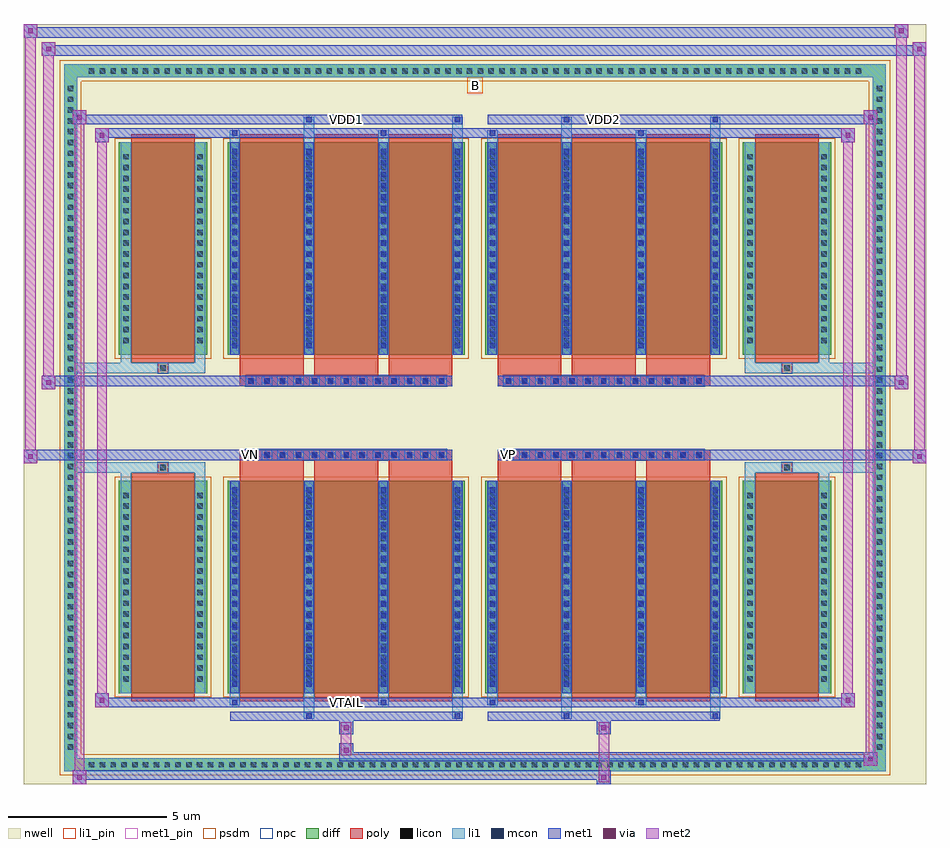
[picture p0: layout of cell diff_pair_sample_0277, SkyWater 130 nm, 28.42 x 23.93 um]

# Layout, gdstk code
import gdstk
lib = gdstk.Library(unit=1e-6, precision=5e-09)
def R(c, l, rs):  # rectangles x0, y0, x1, y1
    for r in rs: c.add(gdstk.rectangle(r[:2], r[2:], *l))
def A(c, l, x, y, w, h, nx, ny, dx, dy):  # array of equal rectangles
    R(c, l, [(x+i*dx, y+j*dy, x+i*dx+w, y+j*dy+h) for i in range(nx) for j in range(ny)])
def P(c, l, *ps):  # polygons
    for p in ps: c.add(gdstk.Polygon(p, *l))
nwell = (64, 20)
diff = (65, 20)
poly = (66, 20)
licon = (66, 44)
li1_pin = (67, 16)
li1 = (67, 20)
mcon = (67, 44)
met1_pin = (68, 16)
met1 = (68, 20)
via = (68, 44)
met2 = (69, 20)
psdm = (94, 20)
npc = (95, 20)

diff_pair_sample_0277 = lib.new_cell('diff_pair_sample_0277')
R(diff_pair_sample_0277, nwell, [(-14.21,-11.53,14.21,12.4), (-11.53,-9.72,-0.01,-0.8), (0.01,-9.72,11.53,-0.8), (-11.53,0.8,-0.01,9.72), (0.01,0.8,11.53,9.72)])
A(diff_pair_sample_0277, diff, -12.275, -11.13, 0.41, 0.41, 72, 2, 0.34, 21.85)
A(diff_pair_sample_0277, diff, -12.94, -10.575, 0.41, 0.41, 1, 62, 0, 0.34)
A(diff_pair_sample_0277, diff, 12.53, -10.575, 0.41, 0.41, 1, 62, 0, 0.34)
R(diff_pair_sample_0277, diff, [(-12.275,-11.13,12.275,-10.72), (-12.94,-10.575,-12.53,10.575), (12.53,-10.575,12.94,10.575), (-11.22,-8.675,-8.43,-1.985), (-7.79,-8.675,-0.32,-1.985), (0.32,-8.675,7.79,-1.985), (8.43,-8.675,11.22,-1.985), (-11.22,1.985,-8.43,8.675), (-7.79,1.985,-0.32,8.675), (0.32,1.985,7.79,8.675), (8.43,1.985,11.22,8.675), (-12.275,10.72,12.275,11.13)])
P(diff_pair_sample_0277, diff, [(12.94,11.13),(-12.94,11.13),(-12.94,-10.72),(-12.53,-10.72),(-12.53,10.72),(12.53,10.72),(12.53,-10.72),(-12.53,-10.72),(-12.94,-10.72),(-12.94,-11.13),(12.94,-11.13)])
A(diff_pair_sample_0277, poly, -7.4, -8.925, 2.01, 7.19, 3, 2, 2.34, 10.66)
A(diff_pair_sample_0277, poly, 0.71, -8.925, 2.01, 7.19, 3, 2, 2.34, 10.66)
A(diff_pair_sample_0277, poly, -7.4, -1.735, 2.01, 0.405, 3, 2, 2.34, 3.065)
A(diff_pair_sample_0277, poly, 0.71, -1.735, 2.01, 0.405, 3, 2, 2.34, 3.065)
A(diff_pair_sample_0277, poly, -7.22, -1.33, 0.33, 0.33, 13, 2, 0.5, 2.33)
A(diff_pair_sample_0277, poly, 0.89, -1.33, 0.33, 0.33, 13, 2, 0.5, 2.33)
R(diff_pair_sample_0277, poly, [(-10.83,-8.925,-8.82,-1.735), (8.82,-8.925,10.83,-1.735), (-9.99,-1.735,-9.66,-1.405), (-9.99,-1.735,-9.66,-1.405), (9.66,-1.735,9.99,-1.405), (9.66,-1.735,9.99,-1.405), (-7.4,-1.33,-0.71,-1), (0.71,-1.33,7.4,-1), (-7.4,1,-0.71,1.33), (0.71,1,7.4,1.33), (-9.99,1.405,-9.66,1.735), (-9.99,1.405,-9.66,1.735), (9.66,1.405,9.99,1.735), (9.66,1.405,9.99,1.735), (-10.83,1.735,-8.82,8.925), (8.82,1.735,10.83,8.925)])
A(diff_pair_sample_0277, licon, -12.155, -11.01, 0.17, 0.17, 72, 2, 0.34, 21.85)
A(diff_pair_sample_0277, licon, -12.82, -10.455, 0.17, 0.17, 1, 62, 0, 0.34)
A(diff_pair_sample_0277, licon, 12.65, -10.455, 0.17, 0.17, 1, 62, 0, 0.34)
A(diff_pair_sample_0277, licon, -11.08, -8.305, 0.17, 0.17, 1, 18, 0, 0.34)
A(diff_pair_sample_0277, licon, -8.74, -8.305, 0.17, 0.17, 1, 18, 0, 0.34)
A(diff_pair_sample_0277, licon, -7.65, -8.305, 0.17, 0.17, 4, 18, 2.34, 0.34)
A(diff_pair_sample_0277, licon, 0.46, -8.305, 0.17, 0.17, 4, 18, 2.34, 0.34)
A(diff_pair_sample_0277, licon, 8.57, -8.305, 0.17, 0.17, 1, 18, 0, 0.34)
A(diff_pair_sample_0277, licon, 10.91, -8.305, 0.17, 0.17, 1, 18, 0, 0.34)
A(diff_pair_sample_0277, licon, -7.14, -1.25, 0.17, 0.17, 13, 2, 0.5, 2.33)
A(diff_pair_sample_0277, licon, 0.97, -1.25, 0.17, 0.17, 13, 2, 0.5, 2.33)
A(diff_pair_sample_0277, licon, -11.08, 2.355, 0.17, 0.17, 1, 18, 0, 0.34)
A(diff_pair_sample_0277, licon, -8.74, 2.355, 0.17, 0.17, 1, 18, 0, 0.34)
A(diff_pair_sample_0277, licon, -7.65, 2.355, 0.17, 0.17, 4, 18, 2.34, 0.34)
A(diff_pair_sample_0277, licon, 0.46, 2.355, 0.17, 0.17, 4, 18, 2.34, 0.34)
A(diff_pair_sample_0277, licon, 8.57, 2.355, 0.17, 0.17, 1, 18, 0, 0.34)
A(diff_pair_sample_0277, licon, 10.91, 2.355, 0.17, 0.17, 1, 18, 0, 0.34)
R(diff_pair_sample_0277, licon, [(-9.91,-1.655,-9.74,-1.485), (9.74,-1.655,9.91,-1.485), (-9.91,1.485,-9.74,1.655), (9.74,1.485,9.91,1.655)])
R(diff_pair_sample_0277, li1_pin, [(-0.25,10.22,0.25,10.72)])
A(diff_pair_sample_0277, li1, -12.235, -11.09, 0.33, 0.33, 72, 2, 0.34, 21.85)
A(diff_pair_sample_0277, li1, -12.9, -10.535, 0.33, 0.33, 1, 62, 0, 0.34)
A(diff_pair_sample_0277, li1, 12.57, -10.535, 0.33, 0.33, 1, 62, 0, 0.34)
A(diff_pair_sample_0277, li1, -7.73, -8.675, 0.33, 6.69, 4, 2, 2.34, 10.66)
A(diff_pair_sample_0277, li1, 0.38, -8.675, 0.33, 6.69, 4, 2, 2.34, 10.66)
A(diff_pair_sample_0277, li1, -7.65, -8.475, 0.17, 0.17, 4, 18, 2.34, 0.36)
A(diff_pair_sample_0277, li1, -7.65, -8.475, 0.17, 6.29, 4, 2, 2.34, 10.66)
A(diff_pair_sample_0277, li1, 0.46, -8.475, 0.17, 0.17, 4, 18, 2.34, 0.36)
A(diff_pair_sample_0277, li1, 0.46, -8.475, 0.17, 6.29, 4, 2, 2.34, 10.66)
A(diff_pair_sample_0277, li1, -11.16, -8.385, 0.33, 0.33, 1, 18, 0, 0.34)
A(diff_pair_sample_0277, li1, -8.82, -8.385, 0.33, 0.33, 1, 18, 0, 0.34)
A(diff_pair_sample_0277, li1, -7.73, -8.385, 0.33, 0.33, 4, 18, 2.34, 0.34)
A(diff_pair_sample_0277, li1, 0.38, -8.385, 0.33, 0.33, 4, 18, 2.34, 0.34)
A(diff_pair_sample_0277, li1, 8.49, -8.385, 0.33, 0.33, 1, 18, 0, 0.34)
A(diff_pair_sample_0277, li1, 10.83, -8.385, 0.33, 0.33, 1, 18, 0, 0.34)
A(diff_pair_sample_0277, li1, -7.22, -1.33, 0.33, 0.33, 13, 2, 0.5, 2.33)
A(diff_pair_sample_0277, li1, 0.89, -1.33, 0.33, 0.33, 13, 2, 0.5, 2.33)
A(diff_pair_sample_0277, li1, -7.65, 2.185, 0.17, 0.17, 4, 18, 2.34, 0.36)
A(diff_pair_sample_0277, li1, 0.46, 2.185, 0.17, 0.17, 4, 18, 2.34, 0.36)
A(diff_pair_sample_0277, li1, -11.16, 2.275, 0.33, 0.33, 1, 18, 0, 0.34)
A(diff_pair_sample_0277, li1, -8.82, 2.275, 0.33, 0.33, 1, 18, 0, 0.34)
A(diff_pair_sample_0277, li1, -7.73, 2.275, 0.33, 0.33, 4, 18, 2.34, 0.34)
A(diff_pair_sample_0277, li1, 0.38, 2.275, 0.33, 0.33, 4, 18, 2.34, 0.34)
A(diff_pair_sample_0277, li1, 8.49, 2.275, 0.33, 0.33, 1, 18, 0, 0.34)
A(diff_pair_sample_0277, li1, 10.83, 2.275, 0.33, 0.33, 1, 18, 0, 0.34)
R(diff_pair_sample_0277, li1, [(-12.94,-11.13,-12.53,-10.72), (-12.94,-11.13,-12.53,-10.72), (-12.53,-11.13,12.53,-10.72), (12.53,-11.13,12.94,-10.72), (12.53,-11.13,12.94,-10.72), (-12.94,-10.72,-12.53,10.72), (12.53,-10.72,12.94,10.72), (-5.39,-9.48,-5.06,-8.675), (-5.31,-9.48,-5.14,-9.31), (-0.71,-9.48,-0.38,-8.675), (-0.63,-9.48,-0.46,-9.31), (2.72,-9.48,3.05,-8.675), (2.8,-9.48,2.97,-9.31), (7.4,-9.48,7.73,-8.675), (7.48,-9.48,7.65,-9.31), (-7.73,-9.05,-7.4,-8.675), (-7.65,-9.05,-7.48,-8.88), (-3.05,-9.05,-2.72,-8.675), (-2.97,-9.05,-2.8,-8.88), (0.38,-9.05,0.71,-8.675), (0.46,-9.05,0.63,-8.88), (5.06,-9.05,5.39,-8.675), (5.14,-9.05,5.31,-8.88), (-11.16,-8.675,-10.83,-1.985), (-8.82,-8.675,-8.49,-1.985), (8.49,-8.675,8.82,-1.985), (10.83,-8.675,11.16,-1.985), (-11.16,-1.985,-10.83,-1.405), (-8.82,-1.985,-8.49,-1.405), (8.49,-1.985,8.82,-1.405), (10.83,-1.985,11.16,-1.405), (-12.94,-1.735,-9.99,-1.405), (-11.16,-1.735,-9.99,-1.405), (-9.99,-1.735,-9.66,-1.405), (-9.66,-1.735,-8.49,-1.405), (8.49,-1.735,9.66,-1.405), (9.66,-1.735,9.99,-1.405), (9.66,-1.735,12.94,-1.405), (9.99,-1.735,11.16,-1.405), (-12.94,1.405,-9.99,1.735), (-11.16,1.405,-9.99,1.735), (-11.16,1.405,-10.83,1.985), (-9.99,1.405,-9.66,1.735), (-9.66,1.405,-8.49,1.735), (-8.82,1.405,-8.49,1.985), (8.49,1.405,9.66,1.735), (8.49,1.405,8.82,1.985), (9.66,1.405,9.99,1.735), (9.66,1.405,12.94,1.735), (9.99,1.405,11.16,1.735), (10.83,1.405,11.16,1.985), (-11.16,1.985,-10.83,8.675), (-8.82,1.985,-8.49,8.675), (8.49,1.985,8.82,8.675), (10.83,1.985,11.16,8.675), (-7.73,8.675,-7.4,9.05), (-5.39,8.675,-5.06,9.48), (-3.05,8.675,-2.72,9.05), (-0.71,8.675,-0.38,9.48), (0.38,8.675,0.71,9.05), (2.72,8.675,3.05,9.48), (5.06,8.675,5.39,9.05), (7.4,8.675,7.73,9.48), (-7.65,8.88,-7.48,9.05), (-2.97,8.88,-2.8,9.05), (0.46,8.88,0.63,9.05), (5.14,8.88,5.31,9.05), (-5.31,9.31,-5.14,9.48), (-0.63,9.31,-0.46,9.48), (2.8,9.31,2.97,9.48), (7.48,9.31,7.65,9.48), (-12.94,10.72,-12.53,11.13), (-12.94,10.72,-12.53,11.13), (-12.53,10.72,12.53,11.13), (12.53,10.72,12.94,11.13), (12.53,10.72,12.94,11.13)])
A(diff_pair_sample_0277, mcon, -7.65, -8.475, 0.17, 0.17, 4, 18, 2.34, 0.36)
A(diff_pair_sample_0277, mcon, 0.46, -8.475, 0.17, 0.17, 4, 18, 2.34, 0.36)
A(diff_pair_sample_0277, mcon, -7.14, -1.25, 0.17, 0.17, 13, 2, 0.5, 2.33)
A(diff_pair_sample_0277, mcon, 0.97, -1.25, 0.17, 0.17, 13, 2, 0.5, 2.33)
A(diff_pair_sample_0277, mcon, -7.65, 2.185, 0.17, 0.17, 4, 18, 2.34, 0.36)
A(diff_pair_sample_0277, mcon, 0.46, 2.185, 0.17, 0.17, 4, 18, 2.34, 0.36)
R(diff_pair_sample_0277, mcon, [(-5.31,-9.48,-5.14,-9.31), (-0.63,-9.48,-0.46,-9.31), (2.8,-9.48,2.97,-9.31), (7.48,-9.48,7.65,-9.31), (-7.65,-9.05,-7.48,-8.88), (-2.97,-9.05,-2.8,-8.88), (0.46,-9.05,0.63,-8.88), (5.14,-9.05,5.31,-8.88), (-7.65,8.88,-7.48,9.05), (-2.97,8.88,-2.8,9.05), (0.46,8.88,0.63,9.05), (5.14,8.88,5.31,9.05), (-5.31,9.31,-5.14,9.48), (-0.63,9.31,-0.46,9.48), (2.8,9.31,2.97,9.48), (7.48,9.31,7.65,9.48)])
R(diff_pair_sample_0277, met1_pin, [(-4.19,-9.09,-3.92,-8.82), (-7.19,-1.29,-6.92,-1.02), (0.92,-1.29,1.19,-1.02), (-4.19,9.27,-3.92,9.54), (3.92,9.27,4.19,9.54)])
A(diff_pair_sample_0277, met1, -7.71, -8.675, 0.29, 6.69, 4, 2, 2.34, 10.66)
A(diff_pair_sample_0277, met1, 0.4, -8.675, 0.29, 6.69, 4, 2, 2.34, 10.66)
A(diff_pair_sample_0277, met1, -7.71, -8.535, 0.29, 0.29, 4, 18, 2.34, 0.36)
A(diff_pair_sample_0277, met1, 0.4, -8.535, 0.29, 0.29, 4, 18, 2.34, 0.36)
A(diff_pair_sample_0277, met1, -7.2, -1.31, 0.29, 0.29, 13, 2, 0.5, 2.33)
A(diff_pair_sample_0277, met1, 0.91, -1.31, 0.29, 0.29, 13, 2, 0.5, 2.33)
A(diff_pair_sample_0277, met1, -7.71, 2.125, 0.29, 0.29, 4, 18, 2.34, 0.36)
A(diff_pair_sample_0277, met1, 0.4, 2.125, 0.29, 0.29, 4, 18, 2.34, 0.36)
R(diff_pair_sample_0277, met1, [(-12.67,-11.53,-12.24,-11.1), (3.84,-11.53,4.27,-11.1), (-12.67,-11.39,4.27,-11.1), (12.24,-10.96,12.67,-10.53), (-4.27,-10.82,12.67,-10.53), (-4.27,-10.68,-3.84,-10.25), (-4.27,-9.97,-3.84,-9.54), (3.84,-9.97,4.27,-9.54), (-7.71,-9.54,-0.4,-9.25), (-5.37,-9.54,-5.08,-9.25), (-0.69,-9.54,-0.4,-9.25), (0.4,-9.54,7.71,-9.25), (2.74,-9.54,3.03,-9.25), (7.42,-9.54,7.71,-9.25), (-11.96,-9.11,-11.53,-8.68), (-11.96,-9.11,-7.71,-8.82), (-7.71,-9.11,-7.42,-8.82), (-7.71,-9.11,-0.4,-8.82), (-3.03,-9.11,-2.74,-8.82), (-0.4,-9.11,0.4,-8.82), (0.4,-9.11,0.69,-8.82), (0.4,-9.11,7.71,-8.82), (5.08,-9.11,5.37,-8.82), (7.71,-9.11,11.96,-8.82), (11.53,-9.11,11.96,-8.68), (-14.21,-1.43,-13.78,-1), (13.78,-1.43,14.21,-1), (-14.21,-1.33,-0.71,-1), (-7.4,-1.33,-0.71,-1), (0.71,-1.33,7.4,-1), (0.71,-1.33,14.21,-1), (-13.64,0.9,-13.21,1.33), (13.21,0.9,13.64,1.33), (-13.64,1,-7.4,1.33), (-7.4,1,-0.71,1.33), (0.71,1,7.4,1.33), (7.4,1,13.64,1.33), (-11.96,8.68,-11.53,9.11), (11.53,8.68,11.96,9.11), (-11.96,8.82,-7.71,9.11), (-7.71,8.82,-7.42,9.11), (-7.71,8.82,-0.4,9.11), (-3.03,8.82,-2.74,9.11), (-0.4,8.82,0.4,9.11), (0.4,8.82,0.69,9.11), (0.4,8.82,7.71,9.11), (5.08,8.82,5.37,9.11), (7.71,8.82,11.96,9.11), (-12.67,9.25,-12.24,9.68), (-12.67,9.25,-7.71,9.54), (-7.71,9.25,-0.4,9.54), (-5.37,9.25,-5.08,9.54), (-0.69,9.25,-0.4,9.54), (0.4,9.25,7.71,9.54), (2.74,9.25,3.03,9.54), (7.42,9.25,7.71,9.54), (7.71,9.25,12.67,9.54), (12.24,9.25,12.67,9.68), (-13.64,11.4,-13.21,11.83), (-13.64,11.4,-11.53,11.73), (-11.53,11.4,11.53,11.73), (11.53,11.4,14.21,11.73), (13.78,11.4,14.21,11.83), (-14.21,11.97,-13.78,12.4), (-14.21,11.97,-11.53,12.3), (-11.53,11.97,11.53,12.3), (11.53,11.97,13.64,12.3), (13.21,11.97,13.64,12.4)])
R(diff_pair_sample_0277, via, [(-12.53,-11.39,-12.38,-11.24), (3.98,-11.39,4.13,-11.24), (12.38,-10.82,12.53,-10.67), (-4.13,-10.54,-3.98,-10.39), (-4.13,-9.83,-3.98,-9.68), (3.98,-9.83,4.13,-9.68), (-11.82,-8.97,-11.67,-8.82), (11.67,-8.97,11.82,-8.82), (-14.07,-1.29,-13.92,-1.14), (13.92,-1.29,14.07,-1.14), (-13.5,1.04,-13.35,1.19), (13.35,1.04,13.5,1.19), (-11.82,8.82,-11.67,8.97), (11.67,8.82,11.82,8.97), (-12.53,9.39,-12.38,9.54), (12.38,9.39,12.53,9.54), (-13.5,11.54,-13.35,11.69), (13.92,11.54,14.07,11.69), (-14.07,12.11,-13.92,12.26), (13.35,12.11,13.5,12.26)])
R(diff_pair_sample_0277, met2, [(-12.67,-11.53,-12.24,-11.1), (-12.6,-11.53,-12.31,9.68), (-12.31,-11.53,-12.24,-11.1), (-12.62,-11.48,-12.29,-11.15), (3.89,-11.48,4.22,-11.15), (3.89,-11.15,4.22,-9.92), (12.24,-10.96,12.67,-10.53), (12.31,-10.96,12.6,9.68), (12.6,-10.96,12.67,-10.53), (12.29,-10.91,12.62,-10.58), (-4.22,-10.63,-3.89,-10.3), (-4.22,-10.3,-3.89,-9.92), (-4.22,-9.92,-3.89,-9.59), (3.89,-9.92,4.22,-9.59), (-11.96,-9.11,-11.53,-8.68), (-11.89,-9.11,-11.6,9.11), (-11.6,-9.11,-11.53,-8.68), (11.53,-9.11,11.96,-8.68), (11.6,-9.11,11.89,9.11), (11.89,-9.11,11.96,-8.68), (-11.91,-9.06,-11.58,-8.73), (11.58,-9.06,11.91,-8.73), (-14.21,-1.43,-13.78,-1), (-14.16,-1.43,-13.83,12.4), (-13.83,-1.43,-13.78,-1), (13.78,-1.43,14.21,-1), (13.83,-1.43,14.16,11.83), (14.16,-1.43,14.21,-1), (-14.16,-1.38,-13.83,-1.05), (13.83,-1.38,14.16,-1.05), (-13.64,0.9,-13.21,1.33), (-13.59,0.9,-13.26,11.83), (-13.26,0.9,-13.21,1.33), (13.21,0.9,13.64,1.33), (13.26,0.9,13.59,12.4), (13.59,0.9,13.64,1.33), (-13.59,0.95,-13.26,1.28), (13.26,0.95,13.59,1.28), (-11.96,8.68,-11.53,9.11), (-11.6,8.68,-11.53,9.11), (11.53,8.68,11.96,9.11), (11.89,8.68,11.96,9.11), (-11.91,8.73,-11.58,9.06), (11.58,8.73,11.91,9.06), (-12.67,9.25,-12.24,9.68), (-12.31,9.25,-12.24,9.68), (12.24,9.25,12.67,9.68), (12.6,9.25,12.67,9.68), (-12.62,9.3,-12.29,9.63), (12.29,9.3,12.62,9.63), (-13.64,11.4,-13.21,11.83), (-13.26,11.4,-13.21,11.83), (13.78,11.4,14.21,11.83), (14.16,11.4,14.21,11.83), (-13.59,11.45,-13.26,11.78), (13.83,11.45,14.16,11.78), (-14.21,11.97,-13.78,12.4), (-13.83,11.97,-13.78,12.4), (13.21,11.97,13.64,12.4), (13.59,11.97,13.64,12.4), (-14.16,12.02,-13.83,12.35), (13.26,12.02,13.59,12.35)])
R(diff_pair_sample_0277, psdm, [(-11.35,-8.805,-8.3,-1.855), (-7.92,-8.805,-0.19,-1.855), (0.19,-8.805,7.92,-1.855), (8.3,-8.805,11.35,-1.855), (-11.35,1.855,-8.3,8.805), (-7.92,1.855,-0.19,8.805), (0.19,1.855,7.92,8.805), (8.3,1.855,11.35,8.805)])
P(diff_pair_sample_0277, psdm, [(13.07,11.26),(-13.07,11.26),(-13.07,-10.59),(-12.4,-10.59),(-12.4,10.59),(12.4,10.59),(12.4,-10.59),(-12.4,-10.59),(-13.07,-10.59),(-13.07,-11.26),(13.07,-11.26)])
A(diff_pair_sample_0277, npc, -7.24, -1.35, 0.37, 0.37, 13, 2, 0.5, 2.33)
A(diff_pair_sample_0277, npc, 0.87, -1.35, 0.37, 0.37, 13, 2, 0.5, 2.33)
R(diff_pair_sample_0277, npc, [(-10.01,-1.755,-9.64,-1.385), (9.64,-1.755,10.01,-1.385), (-7.24,-1.35,-6.37,-0.98), (-7.24,-1.35,-6.37,-0.98), (-6.74,-1.35,-5.87,-0.98), (-6.74,-1.35,-5.87,-0.98), (-6.24,-1.35,-5.37,-0.98), (-6.24,-1.35,-5.37,-0.98), (-5.74,-1.35,-4.87,-0.98), (-5.74,-1.35,-4.87,-0.98), (-5.24,-1.35,-4.37,-0.98), (-5.24,-1.35,-4.37,-0.98), (-4.74,-1.35,-3.87,-0.98), (-4.74,-1.35,-3.87,-0.98), (-4.24,-1.35,-3.37,-0.98), (-4.24,-1.35,-3.37,-0.98), (-3.74,-1.35,-2.87,-0.98), (-3.74,-1.35,-2.87,-0.98), (-3.24,-1.35,-2.37,-0.98), (-3.24,-1.35,-2.37,-0.98), (-2.74,-1.35,-1.87,-0.98), (-2.74,-1.35,-1.87,-0.98), (-2.24,-1.35,-1.37,-0.98), (-2.24,-1.35,-1.37,-0.98), (-1.74,-1.35,-0.87,-0.98), (-1.74,-1.35,-0.87,-0.98), (0.87,-1.35,1.74,-0.98), (0.87,-1.35,1.74,-0.98), (1.37,-1.35,2.24,-0.98), (1.37,-1.35,2.24,-0.98), (1.87,-1.35,2.74,-0.98), (1.87,-1.35,2.74,-0.98), (2.37,-1.35,3.24,-0.98), (2.37,-1.35,3.24,-0.98), (2.87,-1.35,3.74,-0.98), (2.87,-1.35,3.74,-0.98), (3.37,-1.35,4.24,-0.98), (3.37,-1.35,4.24,-0.98), (3.87,-1.35,4.74,-0.98), (3.87,-1.35,4.74,-0.98), (4.37,-1.35,5.24,-0.98), (4.37,-1.35,5.24,-0.98), (4.87,-1.35,5.74,-0.98), (4.87,-1.35,5.74,-0.98), (5.37,-1.35,6.24,-0.98), (5.37,-1.35,6.24,-0.98), (5.87,-1.35,6.74,-0.98), (5.87,-1.35,6.74,-0.98), (6.37,-1.35,7.24,-0.98), (6.37,-1.35,7.24,-0.98), (-7.24,0.98,-6.37,1.35), (-7.24,0.98,-6.37,1.35), (-6.74,0.98,-5.87,1.35), (-6.74,0.98,-5.87,1.35), (-6.24,0.98,-5.37,1.35), (-6.24,0.98,-5.37,1.35), (-5.74,0.98,-4.87,1.35), (-5.74,0.98,-4.87,1.35), (-5.24,0.98,-4.37,1.35), (-5.24,0.98,-4.37,1.35), (-4.74,0.98,-3.87,1.35), (-4.74,0.98,-3.87,1.35), (-4.24,0.98,-3.37,1.35), (-4.24,0.98,-3.37,1.35), (-3.74,0.98,-2.87,1.35), (-3.74,0.98,-2.87,1.35), (-3.24,0.98,-2.37,1.35), (-3.24,0.98,-2.37,1.35), (-2.74,0.98,-1.87,1.35), (-2.74,0.98,-1.87,1.35), (-2.24,0.98,-1.37,1.35), (-2.24,0.98,-1.37,1.35), (-1.74,0.98,-0.87,1.35), (-1.74,0.98,-0.87,1.35), (0.87,0.98,1.74,1.35), (0.87,0.98,1.74,1.35), (1.37,0.98,2.24,1.35), (1.37,0.98,2.24,1.35), (1.87,0.98,2.74,1.35), (1.87,0.98,2.74,1.35), (2.37,0.98,3.24,1.35), (2.37,0.98,3.24,1.35), (2.87,0.98,3.74,1.35), (2.87,0.98,3.74,1.35), (3.37,0.98,4.24,1.35), (3.37,0.98,4.24,1.35), (3.87,0.98,4.74,1.35), (3.87,0.98,4.74,1.35), (4.37,0.98,5.24,1.35), (4.37,0.98,5.24,1.35), (4.87,0.98,5.74,1.35), (4.87,0.98,5.74,1.35), (5.37,0.98,6.24,1.35), (5.37,0.98,6.24,1.35), (5.87,0.98,6.74,1.35), (5.87,0.98,6.74,1.35), (6.37,0.98,7.24,1.35), (6.37,0.98,7.24,1.35), (-10.01,1.385,-9.64,1.755), (9.64,1.385,10.01,1.755)])
diff_pair_sample_0277.add(gdstk.Label('VTAIL', (-4.055,-8.955), layer=68, texttype=5))
diff_pair_sample_0277.add(gdstk.Label('VN', (-7.055,-1.155), layer=68, texttype=5))
diff_pair_sample_0277.add(gdstk.Label('VP', (1.055,-1.155), layer=68, texttype=5))
diff_pair_sample_0277.add(gdstk.Label('B', (0,10.47), layer=67, texttype=5))
diff_pair_sample_0277.add(gdstk.Label('VDD2', (4.055,9.405), layer=68, texttype=5))
diff_pair_sample_0277.add(gdstk.Label('VDD1', (-4.055,9.405), layer=68, texttype=5))

lib.write_gds('diff_pair_sample_0277.gds')
